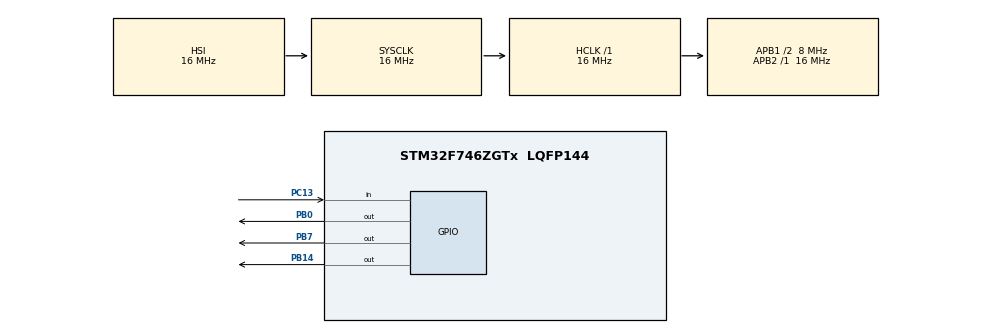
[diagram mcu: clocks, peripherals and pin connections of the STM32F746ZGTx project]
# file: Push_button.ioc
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Mcu.Family=STM32F7
Mcu.Name=STM32F746ZGTx
Mcu.Package=LQFP144
NVIC.PriorityGroup=NVIC_PRIORITYGROUP_4
PB0.Signal=GPIO_Output
PB14.Signal=GPIO_Output
PB7.Signal=GPIO_Output
PC13.Signal=GPIO_Input
ProjectManager.HeapSize=0x200
ProjectManager.StackSize=0x400
ProjectManager.TargetToolchain=MDK-ARM V5
RCC.48MHZClocksFreq_Value=24000000
RCC.AHBFreq_Value=16000000
RCC.APB1CLKDivider=RCC_HCLK_DIV2
RCC.APB1Freq_Value=8000000
RCC.APB1TimFreq_Value=16000000
RCC.APB2Freq_Value=16000000
RCC.APB2TimFreq_Value=16000000
RCC.CortexFreq_Value=16000000
RCC.HCLKFreq_Value=16000000
RCC.HSE_VALUE=8000000
RCC.HSI_VALUE=16000000
RCC.PLLM=8
RCC.PLLMUL=RCC_PLL_MUL9
RCC.PLLN=72
RCC.PLLQ=3
RCC.PRESCALERUSB=RCC_USBCLKSOURCE_PLL_DIV1_5
RCC.SYSCLKFreq_VALUE=16000000
RCC.SYSCLKSourceVirtual=RCC_SYSCLKSOURCE_PLLCLK
RCC.USBFreq_Value=48000000
RCC.VCOOutputFreq_Value=144000000
board=NUCLEO-F746ZG

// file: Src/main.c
/**
  ******************************************************************************
    @file           : main.c
    @brief          : Main program body
  ******************************************************************************
  ** This notice applies to any and all portions of this file
    that are not between comment pairs USER CODE BEGIN and
    USER CODE END. Other portions of this file, whether
    inserted by the user or by software development tools
    are owned by their respective copyright owners.

    COPYRIGHT(c) 2018 STMicroelectronics

    Redistribution and use in source and binary forms, with or without modification,
    are permitted provided that the following conditions are met:
      1. Redistributions of source code must retain the above copyright notice,
         this list of conditions and the following disclaimer.
      2. Redistributions in binary form must reproduce the above copyright notice,
         this list of conditions and the following disclaimer in the documentation
         and/or other materials provided with the distribution.
      3. Neither the name of STMicroelectronics nor the names of its contributors
         may be used to endorse or promote products derived from this software
         without specific prior written permission.

    THIS SOFTWARE IS PROVIDED BY THE COPYRIGHT HOLDERS AND CONTRIBUTORS "AS IS"
    AND ANY EXPRESS OR IMPLIED WARRANTIES, INCLUDING, BUT NOT LIMITED TO, THE
    IMPLIED WARRANTIES OF MERCHANTABILITY AND FITNESS FOR A PARTICULAR PURPOSE ARE
    DISCLAIMED. IN NO EVENT SHALL THE COPYRIGHT HOLDER OR CONTRIBUTORS BE LIABLE
    FOR ANY DIRECT, INDIRECT, INCIDENTAL, SPECIAL, EXEMPLARY, OR CONSEQUENTIAL
    DAMAGES (INCLUDING, BUT NOT LIMITED TO, PROCUREMENT OF SUBSTITUTE GOODS OR
    SERVICES; LOSS OF USE, DATA, OR PROFITS; OR BUSINESS INTERRUPTION) HOWEVER
    CAUSED AND ON ANY THEORY OF LIABILITY, WHETHER IN CONTRACT, STRICT LIABILITY,
    OR TORT (INCLUDING NEGLIGENCE OR OTHERWISE) ARISING IN ANY WAY OUT OF THE USE
    OF THIS SOFTWARE, EVEN IF ADVISED OF THE POSSIBILITY OF SUCH DAMAGE.

  ******************************************************************************
*/
#include "main.h"
#include "stm32f7xx_hal.h"

/* USER CODE BEGIN PV */
/* Private variables ---------------------------------------------------------*/

/* USER CODE END PV */

void SystemClock_Config(void);
static void MX_GPIO_Init(void);
void Count(void);

/* USER CODE BEGIN PFP */
/* Private function prototypes -----------------------------------------------*/

/* USER CODE END PFP */

int count = 0;
int main(void)
{

  /* MCU Configuration----------------------------------------------------------*/

  /* Reset of all peripherals, Initializes the Flash interface and the Systick. */
  HAL_Init();

  /* Configure the system clock */
  SystemClock_Config();

  /* Initialize all configured peripherals */
  MX_GPIO_Init();

  /* Infinite loop */
  /* USER CODE BEGIN WHILE */
  while (1)
  {
			Count();

if(HAL_GPIO_ReadPin(GPIOC, GPIO_PIN_13) == GPIO_PIN_RESET){
		switch (count) {

      case 1 :
        HAL_GPIO_WritePin(GPIOB, GPIO_PIN_0, GPIO_PIN_SET);

        break;
      case 2 :

        HAL_GPIO_WritePin(GPIOB, GPIO_PIN_14, GPIO_PIN_SET);
		 HAL_GPIO_WritePin(GPIOB, GPIO_PIN_0, GPIO_PIN_RESET);

        break;

		case 3:

	   HAL_GPIO_WritePin(GPIOB, GPIO_PIN_7, GPIO_PIN_SET);
		 HAL_GPIO_WritePin(GPIOB, GPIO_PIN_0, GPIO_PIN_RESET);

		 HAL_GPIO_WritePin(GPIOB, GPIO_PIN_14, GPIO_PIN_RESET);
        break;

      case 4:
        HAL_GPIO_TogglePin(GPIOB, GPIO_PIN_14);
		HAL_Delay(200);
		 HAL_GPIO_TogglePin(GPIOB, GPIO_PIN_0);
		HAL_Delay(200);
        HAL_GPIO_TogglePin(GPIOB, GPIO_PIN_7);
		HAL_Delay(200);

		break;

			default :
				 HAL_GPIO_WritePin(GPIOB, GPIO_PIN_0, GPIO_PIN_RESET);

				 HAL_GPIO_WritePin(GPIOB, GPIO_PIN_7, GPIO_PIN_RESET);

				 HAL_GPIO_WritePin(GPIOB, GPIO_PIN_14, GPIO_PIN_RESET);

						break;
    }

}

    /* USER CODE END WHILE */

  }

}

void Count() {
  if (HAL_GPIO_ReadPin(GPIOC, GPIO_PIN_13) == GPIO_PIN_SET)
  {
    while (1) {
      if (HAL_GPIO_ReadPin(GPIOC, GPIO_PIN_13) == GPIO_PIN_RESET) {
        break;

      }
    }
    count++;
  }

	if(count >4){
		count = 0;

	}

}
void SystemClock_Config(void)
{

  RCC_OscInitTypeDef RCC_OscInitStruct;
  RCC_ClkInitTypeDef RCC_ClkInitStruct;

  /**Configure the main internal regulator output voltage
  */
  __HAL_RCC_PWR_CLK_ENABLE();

  __HAL_PWR_VOLTAGESCALING_CONFIG(PWR_REGULATOR_VOLTAGE_SCALE3);

  /**Initializes the CPU, AHB and APB busses clocks
  */
  RCC_OscInitStruct.OscillatorType = RCC_OSCILLATORTYPE_HSI;
  RCC_OscInitStruct.HSIState = RCC_HSI_ON;
  RCC_OscInitStruct.HSICalibrationValue = 16;
  RCC_OscInitStruct.PLL.PLLState = RCC_PLL_NONE;
  if (HAL_RCC_OscConfig(&RCC_OscInitStruct) != HAL_OK)
  {
    _Error_Handler(__FILE__, __LINE__);
  }

  /**Initializes the CPU, AHB and APB busses clocks
  */
  RCC_ClkInitStruct.ClockType = RCC_CLOCKTYPE_HCLK | RCC_CLOCKTYPE_SYSCLK
                                | RCC_CLOCKTYPE_PCLK1 | RCC_CLOCKTYPE_PCLK2;
  RCC_ClkInitStruct.SYSCLKSource = RCC_SYSCLKSOURCE_HSI;
  RCC_ClkInitStruct.AHBCLKDivider = RCC_SYSCLK_DIV1;
  RCC_ClkInitStruct.APB1CLKDivider = RCC_HCLK_DIV2;
  RCC_ClkInitStruct.APB2CLKDivider = RCC_HCLK_DIV1;

  if (HAL_RCC_ClockConfig(&RCC_ClkInitStruct, FLASH_LATENCY_0) != HAL_OK)
  {
    _Error_Handler(__FILE__, __LINE__);
  }

  /**Configure the Systick interrupt time
  */
  HAL_SYSTICK_Config(HAL_RCC_GetHCLKFreq() / 1000);

  /**Configure the Systick
  */
  HAL_SYSTICK_CLKSourceConfig(SYSTICK_CLKSOURCE_HCLK);

  /* SysTick_IRQn interrupt configuration */
  HAL_NVIC_SetPriority(SysTick_IRQn, 0, 0);
}

/** Configure pins as
          Analog
          Input
          Output
          EVENT_OUT
          EXTI
*/
static void MX_GPIO_Init(void)
{

  GPIO_InitTypeDef GPIO_InitStruct;

  /* GPIO Ports Clock Enable */
  __HAL_RCC_GPIOC_CLK_ENABLE();
  __HAL_RCC_GPIOB_CLK_ENABLE();

  /*Configure GPIO pin Output Level */
  HAL_GPIO_WritePin(GPIOB, GPIO_PIN_0 | GPIO_PIN_14 | GPIO_PIN_7, GPIO_PIN_RESET);

  /*Configure GPIO pin : PC13 */
  GPIO_InitStruct.Pin = GPIO_PIN_13;
  GPIO_InitStruct.Mode = GPIO_MODE_INPUT;
  GPIO_InitStruct.Pull = GPIO_NOPULL;
  HAL_GPIO_Init(GPIOC, &GPIO_InitStruct);

  /*Configure GPIO pins : PB0 PB14 PB7 */
  GPIO_InitStruct.Pin = GPIO_PIN_0 | GPIO_PIN_14 | GPIO_PIN_7;
  GPIO_InitStruct.Mode = GPIO_MODE_OUTPUT_PP;
  GPIO_InitStruct.Pull = GPIO_NOPULL;
  GPIO_InitStruct.Speed = GPIO_SPEED_FREQ_LOW;
  HAL_GPIO_Init(GPIOB, &GPIO_InitStruct);

}

void _Error_Handler(char *file, int line)
{
  while (1)
  {
  }
}

/**
    @}
*/

/**
    @}
*/

/************************ (C) COPYRIGHT STMicroelectronics *****END OF FILE****/
